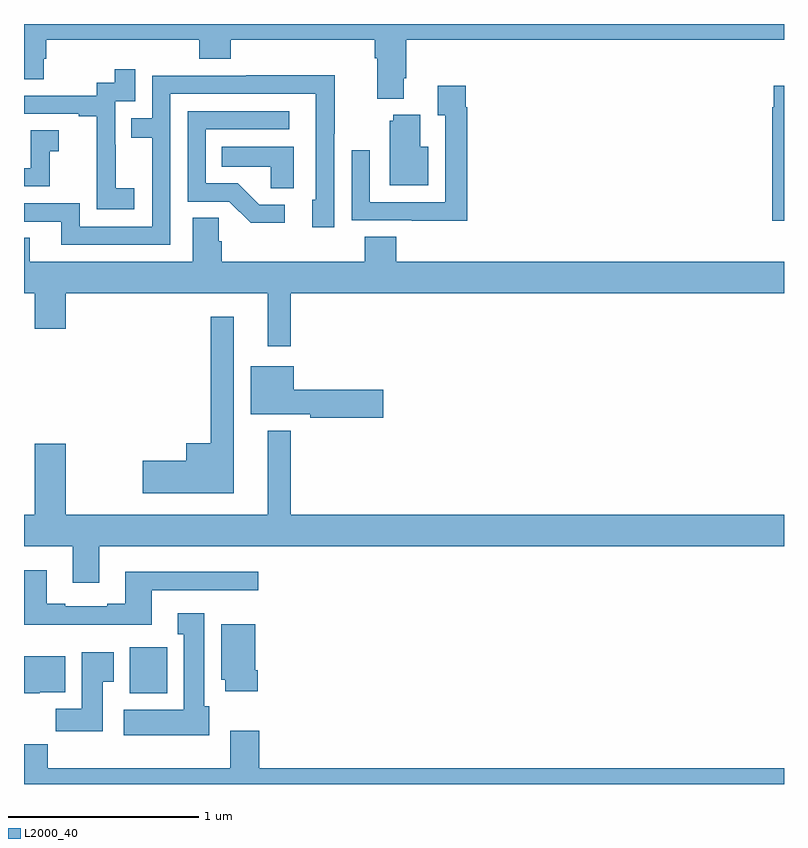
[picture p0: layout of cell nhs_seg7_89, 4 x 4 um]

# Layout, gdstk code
import gdstk
lib = gdstk.Library(unit=1e-6, precision=1e-09)
def R(c, l, rs):  # rectangles x0, y0, x1, y1
    for r in rs: c.add(gdstk.rectangle(r[:2], r[2:], *l))
def P(c, l, *ps):  # polygons
    for p in ps: c.add(gdstk.Polygon(p, *l))
L2000_40 = (2000, 40)

nhs_seg7_89 = lib.new_cell('nhs_seg7_89')
R(nhs_seg7_89, L2000_40, [(117.557,1030.478,117.754,1030.72)])
P(nhs_seg7_89, L2000_40, [(118.999,1033.714),(119.012,1033.714),(119.012,1033.916),(121,1033.916),(121,1034),(117,1034),(117,1033.708),(117.103,1033.708),(117.103,1033.818),(117.116,1033.818),(117.116,1033.916),(117.923,1033.916),(117.923,1033.817),(118.088,1033.817),(118.088,1033.916),(118.847,1033.916),(118.847,1033.82),(118.859,1033.82),(118.859,1033.607),(118.999,1033.607)],
  [(117.58,1033.135),(117.482,1033.135),(117.482,1033.364),(117.48,1033.364),(117.48,1033.593),(117.585,1033.593),(117.585,1033.762),(117.477,1033.762),(117.477,1033.692),(117.384,1033.692),(117.384,1033.623),(117,1033.623),(117,1033.527),(117.287,1033.527),(117.287,1033.515),(117.383,1033.515),(117.383,1033.231),(117.382,1033.231),(117.382,1033.025),(117.58,1033.025)],
  [(117.771,1033.632),(118.536,1033.632),(118.536,1033.074),(118.517,1033.074),(118.517,1032.93),(118.632,1032.93),(118.632,1033.423),(118.635,1033.423),(118.635,1033.73),(118.171,1033.73),(118.171,1033.728),(117.675,1033.728),(117.675,1033.503),(117.565,1033.503),(117.565,1033.402),(117.675,1033.402),(117.675,1032.933),(117.294,1032.933),(117.294,1033.056),(117,1033.056),(117,1032.96),(117.197,1032.96),(117.197,1032.837),(117.771,1032.837)],
  [(121,1033.675),(120.945,1033.675),(120.945,1033.562),(120.937,1033.562),(120.937,1032.965),(121,1032.965)],
  [(119.333,1033.562),(119.326,1033.562),(119.326,1033.675),(119.177,1033.675),(119.177,1033.519),(119.217,1033.519),(119.217,1033.062),(118.821,1033.062),(118.821,1033.336),(118.725,1033.336),(118.725,1032.966),(119.041,1032.966),(119.041,1032.965),(119.333,1032.965)],
  [(118.372,1033.05),(118.237,1033.05),(118.126,1033.161),(117.957,1033.161),(117.957,1033.446),(118.396,1033.446),(118.396,1033.542),(117.861,1033.542),(117.861,1033.065),(118.08,1033.065),(118.193,1032.953),(118.372,1032.953)],
  [(119.128,1033.354),(119.086,1033.354),(119.086,1033.522),(118.943,1033.522),(118.943,1033.491),(118.925,1033.491),(118.925,1033.151),(119.128,1033.151)],
  [(117.135,1033.331),(117.184,1033.331),(117.184,1033.441),(117.036,1033.441),(117.036,1033.242),(117,1033.242),(117,1033.146),(117.135,1033.146)],
  [(118.42,1033.354),(118.042,1033.354),(118.042,1033.25),(118.299,1033.25),(118.299,1033.135),(118.42,1033.135)],
  [(118.405,1032.584),(121,1032.584),(121,1032.748),(118.958,1032.748),(118.958,1032.881),(118.793,1032.881),(118.793,1032.748),(118.04,1032.748),(118.04,1032.857),(118.026,1032.857),(118.026,1032.98),(117.887,1032.98),(117.887,1032.748),(117.031,1032.748),(117.031,1032.875),(117,1032.875),(117,1032.584),(117.056,1032.584),(117.056,1032.396),(117.22,1032.396),(117.22,1032.584),(118.283,1032.584),(118.283,1032.303),(118.405,1032.303)],
  [(118.105,1032.46),(117.984,1032.46),(117.984,1031.794),(117.854,1031.794),(117.854,1031.702),(117.624,1031.702),(117.624,1031.531),(118.105,1031.531)],
  [(118.891,1032.074),(118.42,1032.074),(118.42,1032.199),(118.193,1032.199),(118.193,1031.945),(118.506,1031.945),(118.506,1031.927),(118.891,1031.927)],
  [(117.397,1031.252),(121,1031.252),(121,1031.416),(118.405,1031.416),(118.405,1031.86),(118.283,1031.86),(118.283,1031.416),(117.22,1031.416),(117.22,1031.791),(117.056,1031.791),(117.056,1031.416),(117,1031.416),(117,1031.252),(117.257,1031.252),(117.257,1031.058),(117.397,1031.058)],
  [(117.673,1031.019),(118.234,1031.019),(118.234,1031.116),(117.533,1031.116),(117.533,1030.948),(117.437,1030.948),(117.437,1030.935),(117.217,1030.935),(117.217,1030.948),(117.121,1030.948),(117.121,1031.125),(117,1031.125),(117,1030.838),(117.673,1030.838)],
  [(117.976,1030.41),(117.949,1030.41),(117.949,1030.9),(117.809,1030.9),(117.809,1030.787),(117.842,1030.787),(117.842,1030.39),(117.525,1030.39),(117.525,1030.256),(117.976,1030.256)],
  [(118.229,1030.6),(118.216,1030.6),(118.216,1030.84),(118.037,1030.84),(118.037,1030.548),(118.058,1030.548),(118.058,1030.488),(118.229,1030.488)],
  [(117.415,1030.537),(117.472,1030.537),(117.472,1030.693),(117.305,1030.693),(117.305,1030.396),(117.166,1030.396),(117.166,1030.278),(117.415,1030.278)],
  [(117.084,1030.484),(117.217,1030.484),(117.217,1030.672),(117,1030.672),(117,1030.478),(117.084,1030.478)],
  [(121,1030.084),(118.238,1030.084),(118.238,1030.279),(118.085,1030.279),(118.085,1030.084),(117.125,1030.084),(117.125,1030.208),(117,1030.208),(117,1030),(121,1030)])

lib.write_gds('nhs_seg7_89.gds')
